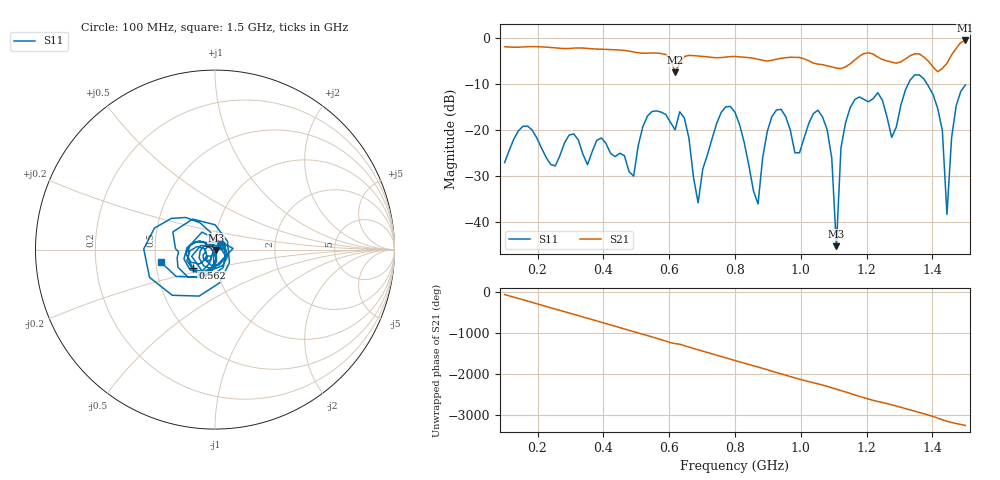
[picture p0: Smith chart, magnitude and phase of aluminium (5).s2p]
! NanoVNA-App
! Date: 2025-09-25 14:55:18
! Start: 100MHz Stop: 1,5GHz Points: 101
! S-Parameter data: F S11 S21 S12 S22
# Hz S RI R 50
!  Frequency  S11_Real  S11_Imag  S21_Real  S21_Imag  S12_Real  S12_Imag  S22_Real  S22_Imag
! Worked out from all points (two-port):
!   101 points, 100 MHz to 1.5 GHz, reference 50 ohm
!   highest |S21| = -0.56 dB at 1.5 GHz (marker M1); lowest = -7.4 dB at 618 MHz (marker M2)
!   |S21| within 3 dB of the highest: start of sweep to 585.9 MHz; 1.188 GHz to 1.221 GHz (32.71 MHz wide, 2.72 % of centre) (the widest 2 of 4)
!   lowest |S11| = -45.1 dB at 1.108 GHz (marker M3), VSWR 1.01, Z = 50.5 - j0.155 ohm
!   |S11| at or under -10 dB: start of sweep to 1.326 GHz; 1.384 GHz to end of sweep
!   S12 and S22 are empty: the file has one direction only
!   S11 on the Smith chart (normalised r, x): 100 MHz: 1.07, +0.06; 562 MHz: 0.76, -0.16; 1.5 GHz: 0.53, -0.08
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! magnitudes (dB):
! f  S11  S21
! 100 MHz  -27.0  -1.9
! 338 MHz  -25.2  -2.2
! 492 MHz  -30.0  -3.1
! 562 MHz  -15.8  -3.3
! 576 MHz  -16.1  -3.4
! 618 MHz  -19.9  -7.4
! 646 MHz  -17.4  -4.0
! 688 MHz  -35.7  -3.9
! 800 MHz  -16.1  -4.0
! 870 MHz  -36.0  -4.6
! 912 MHz  -17.1  -4.9
! 1.038 GHz  -16.4  -5.5
! 1.08 GHz  -19.9  -6.1
! 1.108 GHz  -45.1  -6.6
! 1.122 GHz  -23.8  -6.6
! 1.15 GHz  -15.1  -5.6
! 1.276 GHz  -21.6  -5.3
! 1.374 GHz  -8.9  -4.2
! 1.43 GHz  -20.1  -6.6
! 1.444 GHz  -38.3  -5.5
! 1.458 GHz  -21.7  -3.7
! 1.5 GHz  -10.2  -0.6
